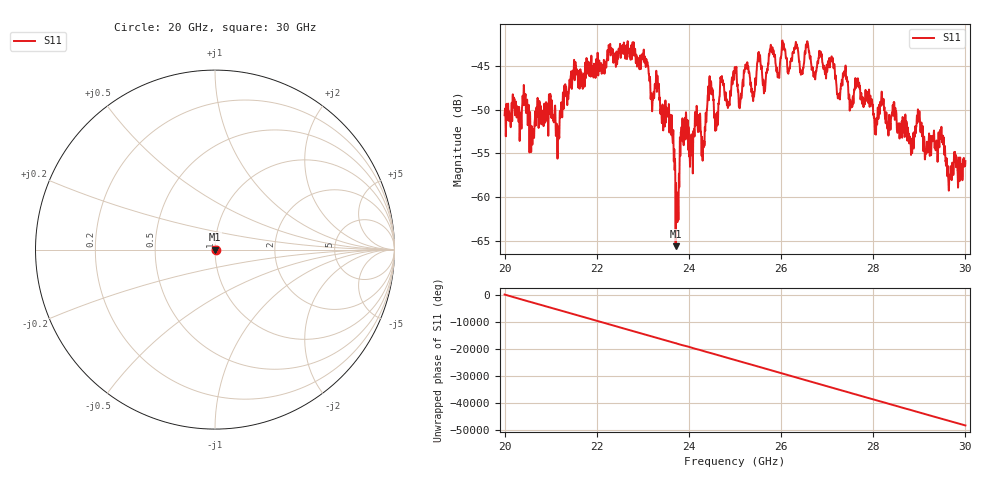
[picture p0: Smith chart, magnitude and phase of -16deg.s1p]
#  HZ  S  RI  R  50.00
! Rohde & Schwarz ZVA40 4Ports - Version 3.90 - 1145.1110k42 SN: 100403
! Date: 2023-10-03 12:33:08
! Measurement: S12
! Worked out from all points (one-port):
!   5001 points, 20 GHz to 30 GHz, reference 50 ohm
!   lowest |S11| = -65.6 dB at 23.71 GHz (marker M1), VSWR 1.00, Z = 50 + j0.052 ohm
!   |S11| at or under -10 dB: start of sweep to end of sweep
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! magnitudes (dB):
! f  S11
! 20 GHz  -50.6
! 20.59 GHz  -52.2
! 21.01 GHz  -49.6
! 21.15 GHz  -54.7
! 21.25 GHz  -50.9
! 22.5 GHz  -42.8
! 23.31 GHz  -47.9
! 23.59 GHz  -52.0
! 23.71 GHz  -65.6
! 23.75 GHz  -62.9
! 23.87 GHz  -53.5
! 24.31 GHz  -53.9
! 24.46 GHz  -47.1
! 24.59 GHz  -52.3
! 24.71 GHz  -46.2
! 24.86 GHz  -49.2
! 25 GHz  -45.4
! 25.11 GHz  -49.4
! 25.24 GHz  -45.3
! 25.38 GHz  -48.4
! 25.52 GHz  -43.6
! 25.64 GHz  -47.3
! 25.78 GHz  -42.9
! 26.25 GHz  -43.5
! 27.09 GHz  -44.1
! 27.5 GHz  -48.8
! 28.75 GHz  -52.2
! 30 GHz  -55.9
